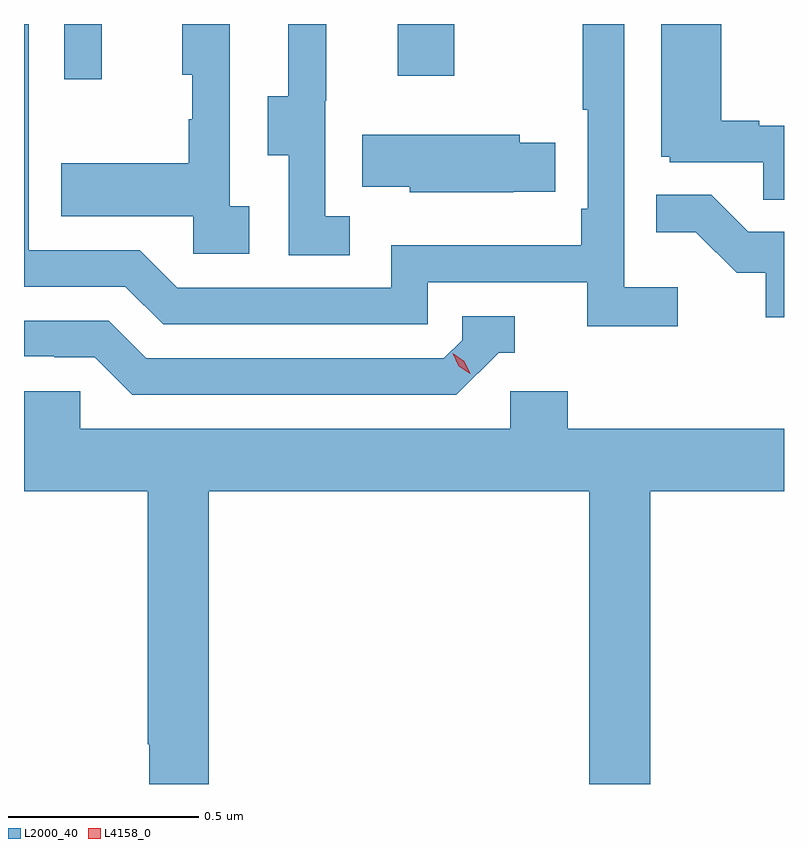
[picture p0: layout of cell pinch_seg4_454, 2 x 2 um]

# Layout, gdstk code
import gdstk
lib = gdstk.Library(unit=1e-6, precision=1e-09)
def R(c, l, rs):  # rectangles x0, y0, x1, y1
    for r in rs: c.add(gdstk.rectangle(r[:2], r[2:], *l))
def P(c, l, *ps):  # polygons
    for p in ps: c.add(gdstk.Polygon(p, *l))
L2000_40 = (2000, 40)
L4158_0 = (4158, 0)

pinch_seg4_454 = lib.new_cell('pinch_seg4_454')
R(pinch_seg4_454, L2000_40, [(953.649,771.264,953.747,771.409), (954.527,771.273,954.675,771.409)])
P(pinch_seg4_454, L2000_40, [(955.264,770.716),(955.122,770.716),(955.122,771.409),(955.014,771.409),(955.014,771.184),(955.026,771.184),(955.026,770.923),(955.009,770.923),(955.009,770.827),(954.51,770.827),(954.51,770.715),(953.946,770.715),(953.847,770.814),(953.556,770.814),(953.556,771.409),(953.543,771.409),(953.543,770.718),(953.81,770.718),(953.909,770.619),(954.606,770.619),(954.606,770.73),(955.025,770.73),(955.025,770.614),(955.264,770.614)],
  [(954.4,770.903),(954.336,770.903),(954.336,771.207),(954.338,771.207),(954.338,771.409),(954.239,771.409),(954.239,771.219),(954.185,771.219),(954.185,771.064),(954.24,771.064),(954.24,770.8),(954.4,770.8)],
  [(955.543,771.141),(955.478,771.141),(955.478,771.154),(955.378,771.154),(955.378,771.409),(955.22,771.409),(955.22,771.06),(955.242,771.06),(955.242,771.045),(955.489,771.045),(955.489,770.947),(955.543,770.947)],
  [(954.136,770.93),(954.084,770.93),(954.084,771.409),(953.96,771.409),(953.96,771.276),(953.986,771.276),(953.986,771.158),(953.976,771.158),(953.976,771.043),(953.641,771.043),(953.641,770.903),(953.988,770.903),(953.988,770.805),(954.136,770.805)],
  [(954.83,770.967),(954.941,770.967),(954.941,771.096),(954.847,771.096),(954.847,771.118),(954.433,771.118),(954.433,770.981),(954.558,770.981),(954.558,770.966),(954.83,770.966)],
  [(955.543,770.862),(955.449,770.862),(955.351,770.96),(955.207,770.96),(955.207,770.861),(955.311,770.861),(955.418,770.754),(955.495,770.754),(955.495,770.637),(955.543,770.637)],
  [(954.792,770.544),(954.835,770.544),(954.835,770.64),(954.696,770.64),(954.696,770.577),(954.648,770.529),(953.865,770.529),(953.766,770.628),(953.543,770.628),(953.543,770.535),(953.622,770.535),(953.622,770.532),(953.729,770.532),(953.828,770.433),(954.681,770.433)],
  [(954.029,770.18),(955.031,770.18),(955.031,769.409),(955.191,769.409),(955.191,770.18),(955.543,770.18),(955.543,770.344),(954.974,770.344),(954.974,770.442),(954.822,770.442),(954.822,770.344),(953.691,770.344),(953.691,770.442),(953.543,770.442),(953.543,770.18),(953.869,770.18),(953.869,769.513),(953.873,769.513),(953.873,769.409),(954.029,769.409)])
P(pinch_seg4_454, L4158_0, [(954.717,770.489),(954.687,770.509),(954.671,770.542),(954.671,770.542),(954.671,770.542),(954.702,770.522),(954.717,770.489),(954.717,770.489)])

lib.write_gds('pinch_seg4_454.gds')
